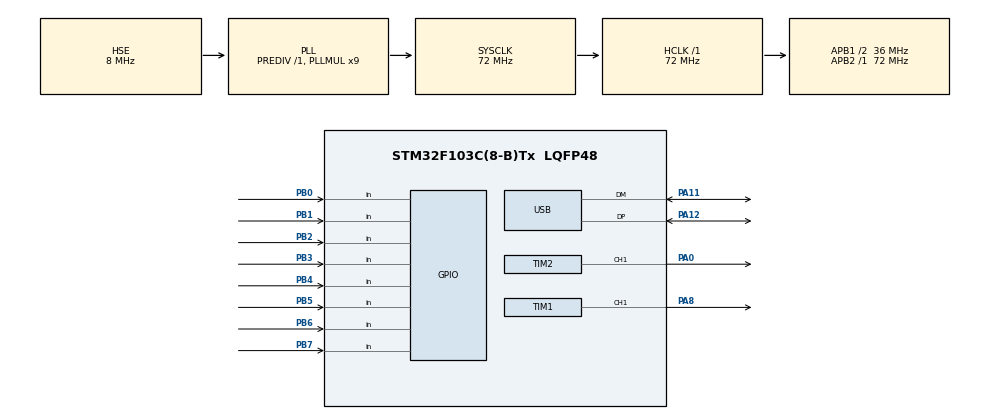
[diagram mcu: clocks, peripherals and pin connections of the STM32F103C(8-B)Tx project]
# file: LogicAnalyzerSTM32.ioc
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Dma.Request0=TIM1_UP
Dma.TIM1_UP.0.Direction=DMA_PERIPH_TO_MEMORY
Dma.TIM1_UP.0.Instance=DMA1_Channel5
Dma.TIM1_UP.0.MemDataAlignment=DMA_MDATAALIGN_BYTE
Dma.TIM1_UP.0.MemInc=DMA_MINC_ENABLE
Dma.TIM1_UP.0.Mode=DMA_CIRCULAR
Dma.TIM1_UP.0.PeriphDataAlignment=DMA_PDATAALIGN_BYTE
Dma.TIM1_UP.0.PeriphInc=DMA_PINC_DISABLE
Dma.TIM1_UP.0.Priority=DMA_PRIORITY_VERY_HIGH
Mcu.Family=STM32F1
Mcu.Name=STM32F103C(8-B)Tx
Mcu.Package=LQFP48
NVIC.DMA1_Channel5_IRQn=true\:0\:0\:false\:false\:true\:false\:true\:true
NVIC.PriorityGroup=NVIC_PRIORITYGROUP_4
NVIC.USB_LP_CAN1_RX0_IRQn=true\:1\:0\:true\:false\:true\:false\:true\:true
PA0-WKUP.Signal=S_TIM2_CH1_ETR
PA11.Mode=Device
PA11.Signal=USB_DM
PA12.Mode=Device
PA12.Signal=USB_DP
PA13.Mode=Serial_Wire
PA13.Signal=SYS_JTMS-SWDIO
PA14.Mode=Serial_Wire
PA14.Signal=SYS_JTCK-SWCLK
PA8.Signal=S_TIM1_CH1
PB0.GPIO_Mode=GPIO_MODE_INPUT
PB0.GPIO_PuPd=GPIO_PULLDOWN
PB0.Signal=GPIO_Input
PB1.GPIO_Mode=GPIO_MODE_INPUT
PB1.GPIO_PuPd=GPIO_PULLDOWN
PB1.Signal=GPIO_Input
PB2.GPIO_Mode=GPIO_MODE_INPUT
PB2.GPIO_PuPd=GPIO_PULLDOWN
PB2.Signal=GPIO_Input
PB3.GPIO_Mode=GPIO_MODE_INPUT
PB3.GPIO_PuPd=GPIO_PULLDOWN
PB3.Signal=GPIO_Input
PB4.GPIO_Mode=GPIO_MODE_INPUT
PB4.GPIO_PuPd=GPIO_PULLDOWN
PB4.Signal=GPIO_Input
PB5.GPIO_Mode=GPIO_MODE_INPUT
PB5.GPIO_PuPd=GPIO_PULLDOWN
PB5.Signal=GPIO_Input
PB6.GPIO_Mode=GPIO_MODE_INPUT
PB6.GPIO_PuPd=GPIO_PULLDOWN
PB6.Signal=GPIO_Input
PB7.GPIO_Mode=GPIO_MODE_INPUT
PB7.GPIO_PuPd=GPIO_PULLDOWN
PB7.Signal=GPIO_Input
PD0-OSC_IN.Mode=HSE-External-Oscillator
PD0-OSC_IN.Signal=RCC_OSC_IN
PD1-OSC_OUT.Mode=HSE-External-Oscillator
PD1-OSC_OUT.Signal=RCC_OSC_OUT
ProjectManager.HeapSize=0x200
ProjectManager.StackSize=0x400
ProjectManager.TargetToolchain=MDK-ARM V5.32
RCC.AHBFreq_Value=72000000
RCC.APB1CLKDivider=RCC_HCLK_DIV2
RCC.APB1Freq_Value=36000000
RCC.APB1TimFreq_Value=72000000
RCC.APB2Freq_Value=72000000
RCC.APB2TimFreq_Value=72000000
RCC.HCLKFreq_Value=72000000
RCC.PLLMUL=RCC_PLL_MUL9
RCC.PLLSourceVirtual=RCC_PLLSOURCE_HSE
RCC.SYSCLKFreq_VALUE=72000000
RCC.SYSCLKSource=RCC_SYSCLKSOURCE_PLLCLK
RCC.USBFreq_Value=48000000
RCC.USBPrescaler=RCC_USBCLKSOURCE_PLL_DIV1_5
SH.S_TIM1_CH1.0=TIM1_CH1,PWM Generation1 CH1
SH.S_TIM2_CH1_ETR.0=TIM2_CH1,PWM Generation1 CH1
TIM1.Channel-PWM\ Generation1\ CH1=TIM_CHANNEL_1
TIM1.Period=9
TIM1.Prescaler=719
TIM2.Channel-PWM\ Generation1\ CH1=TIM_CHANNEL_1
TIM2.Period=999
TIM2.Prescaler=719
TIM2.Pulse-PWM\ Generation1\ CH1=500
USB_DEVICE.CLASS_NAME_FS=CDC
USB_DEVICE.VirtualMode=Cdc
USB_DEVICE.VirtualModeFS=Cdc_FS
VP_TIM1_VS_ClockSourceINT.Mode=Internal
VP_TIM2_VS_ClockSourceINT.Mode=Internal
VP_USB_DEVICE_VS_USB_DEVICE_CDC_FS.Mode=CDC_FS
board=custom

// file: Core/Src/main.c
/* USER CODE BEGIN Header */
/**
  ******************************************************************************
  * @file           : main.c
  * @brief          : Main program body
  ******************************************************************************
  * @attention
  *
  * Copyright (c) 2026 STMicroelectronics.
  * All rights reserved.
  *
  * This software is licensed under terms that can be found in the LICENSE file
  * in the root directory of this software component.
  * If no LICENSE file comes with this software, it is provided AS-IS.
  *
  ******************************************************************************
  */
/* USER CODE END Header */
#include "main.h"
#include "usb_device.h"

/* USER CODE BEGIN Includes */
#include "usbd_cdc_if.h"
#include <string.h>
#include <stdio.h>
/* USER CODE END Includes */

/* USER CODE BEGIN PTD */
typedef enum {
	MODE_STREAMING,
	MODE_SNAPSHOT
} CaptureMode_t;

typedef struct {
	uint32_t freq;
	uint16_t psc;
	uint16_t arr;
} FreqConfig_t;
/* USER CODE END PTD */

/* USER CODE BEGIN PD */
#define BUFFER_SIZE       10240
#define HALF_BUFFER_SIZE  (BUFFER_SIZE / 2)
#define NUM_FREQS (sizeof(Freq_LUT) / sizeof(Freq_LUT[0]))
#define NUM_ALLOWED_SAMPLES (sizeof(ALLOWED_SAMPLES) / sizeof(ALLOWED_SAMPLES[0]))
/* USER CODE END PD */

TIM_HandleTypeDef htim1;
TIM_HandleTypeDef htim2;
DMA_HandleTypeDef hdma_tim1_up;

/* USER CODE BEGIN PV */
uint8_t capture_buffer[BUFFER_SIZE];

volatile uint8_t flag_half_ready = 0;
volatile uint8_t flag_full_ready = 0;
volatile uint8_t flag_snapshot_done = 0;

volatile uint8_t flag_capturing = 0;
uint8_t flag_configured = 0;

CaptureMode_t current_mode = MODE_STREAMING;

uint32_t target_samples = 0;
uint32_t samples_captured = 0;

const FreqConfig_t Freq_LUT[] = {
	{          1,   1199,   59999 },
  {          2,    599,   59999 },
  {          5,    239,   59999 },
  {         10,    119,   59999 },
  {         20,     59,   59999 },
  {         50,     23,   59999 },
  {        100,     11,   59999 },
  {        200,      5,   59999 },
  {        500,      2,   47999 },
  {       1000,      1,   35999 },
  {       2000,      0,   35999 },
  {       5000,      0,   14399 },
  {      10000,      0,    7199 },
  {      20000,      0,    3599 },
  {      50000,      0,    1439 },
  {     100000,      0,     719 },
  {     200000,      0,     359 },
  {     500000,      0,     143 },
  {    1000000,      0,      71 },
  {    2000000,      0,      35 }
};
const uint32_t ALLOWED_SAMPLES[] = {100, 200, 500, 1000, 2000, 5000, 10000, 20000, 50000, 100000};

char *hmsg = "\r\n=== Half Data ===\r\n";
char *fmsg = "\r\n=== Full Data ===\r\n";
char *startmsg = "\r\n=== Start Capture ===\r\n";
char *stopmsg = "\r\n=== Stop Capture ===\r\n";

/* USER CODE END PV */

void SystemClock_Config(void);
static void MX_GPIO_Init(void);
static void MX_DMA_Init(void);
static void MX_TIM1_Init(void);
static void MX_TIM2_Init(void);
/* USER CODE BEGIN PFP */
uint8_t USB_Transmit_Safe(uint8_t *pData, uint16_t length);

void My_DMA_HalfConvCallback(DMA_HandleTypeDef *hdma);
void My_DMA_FullConvCallback(DMA_HandleTypeDef *hdma);

void LogicAnalyzer_StartCapture(void);
void LogicAnalyzer_StopCapture(void);

uint8_t Validate_And_Set_Config(uint32_t freq, uint32_t samples);
/* USER CODE END PFP */

/* USER CODE BEGIN 0 */

uint8_t USB_Transmit_Safe(uint8_t *pData, uint16_t length) {
	uint32_t timeout = 50000;
	while (CDC_Transmit_FS(pData, length) == USBD_BUSY) {
		if (--timeout == 0) {
			return 0;
		}
   }
	return 1;
}

void My_DMA_HalfConvCallback(DMA_HandleTypeDef *hdma) {
	flag_half_ready = 1;
}

void My_DMA_FullConvCallback(DMA_HandleTypeDef *hdma) {
	flag_full_ready = 1;
}

void LogicAnalyzer_StartCapture(void){
	flag_half_ready = 0;
	flag_full_ready = 0;

	htim1.hdma[TIM_DMA_ID_UPDATE]->XferHalfCpltCallback = My_DMA_HalfConvCallback;
	htim1.hdma[TIM_DMA_ID_UPDATE]->XferCpltCallback = My_DMA_FullConvCallback;

	HAL_DMA_Start_IT(htim1.hdma[TIM_DMA_ID_UPDATE], (uint32_t)&(GPIOB->IDR), (uint32_t)capture_buffer, BUFFER_SIZE);

	__HAL_TIM_SET_COUNTER(&htim1, 0);
	__HAL_TIM_ENABLE_DMA(&htim1, TIM_DMA_UPDATE);
	HAL_TIM_Base_Start(&htim1);
}

void LogicAnalyzer_StopCapture(void) {
	HAL_TIM_Base_Stop(&htim1);
	__HAL_TIM_DISABLE_DMA(&htim1, TIM_DMA_UPDATE);
	HAL_DMA_Abort(htim1.hdma[TIM_DMA_ID_UPDATE]);
}

uint8_t Validate_And_Set_Config(uint32_t freq, uint32_t samples) {
	int freq_index = -1;
	uint8_t flag_sample_valid = 0;

	for (uint8_t i = 0; i < NUM_FREQS; i++) {
		if (freq == Freq_LUT[i].freq) {
			freq_index = i;
			break;
		}
	}

	for (uint8_t i = 0; i < NUM_ALLOWED_SAMPLES; i++) {
		if (samples == ALLOWED_SAMPLES[i]) {
			flag_sample_valid = 1;
			break;
		}
	}

	if (freq_index == -1 || !flag_sample_valid) {
		return 1; //loi 1: tham so khong nam trong dai quy dinh
	}

	if (freq >= 500000) {
		if (samples > BUFFER_SIZE) {
			return 2; // loi 2: che do snapshot nhung samples vuot qua buffer
		}
		current_mode = MODE_SNAPSHOT;
	}
	else {
		current_mode = MODE_STREAMING;
	}

	target_samples = samples;

	htim1.Instance->PSC = Freq_LUT[freq_index].psc;
	htim1.Instance->ARR = Freq_LUT[freq_index].arr;
	htim1.Instance->EGR = TIM_EGR_UG;
	htim1.Instance->SR = ~TIM_SR_UIF;

	flag_configured = 1;
	return 0;
}
/* USER CODE END 0 */

int main(void)
{

  /* MCU Configuration--------------------------------------------------------*/

  /* Reset of all peripherals, Initializes the Flash interface and the Systick. */
  HAL_Init();

  /* Configure the system clock */
  SystemClock_Config();

  /* Initialize all configured peripherals */
  MX_GPIO_Init();
  MX_DMA_Init();
  MX_TIM1_Init();
  MX_USB_DEVICE_Init();
  MX_TIM2_Init();
  /* USER CODE BEGIN 2 */
	HAL_TIM_PWM_Start(&htim2, TIM_CHANNEL_1);
	HAL_Delay(2000);
	char *boot_msg = "=== STM32 Logic Analyzer Ready ===\r\n";
	USB_Transmit_Safe((uint8_t*)boot_msg, strlen(boot_msg));
	Validate_And_Set_Config(10000, 5000);
  /* USER CODE END 2 */

  /* Infinite loop */
  /* USER CODE BEGIN WHILE */
  while (1)
  {
    if (flag_half_ready == 1) {
      flag_half_ready = 0;
      USB_Transmit_Safe((uint8_t*)hmsg, strlen(hmsg));
			USB_Transmit_Safe((uint8_t*)&capture_buffer[0], HALF_BUFFER_SIZE);
    }
		if (flag_full_ready == 1) {
			flag_full_ready = 0;
      USB_Transmit_Safe((uint8_t*)fmsg, strlen(fmsg));
			USB_Transmit_Safe((uint8_t*)&capture_buffer[HALF_BUFFER_SIZE], HALF_BUFFER_SIZE);
		}
    /* USER CODE END WHILE */

  }
}

void SystemClock_Config(void)
{
  RCC_OscInitTypeDef RCC_OscInitStruct = {0};
  RCC_ClkInitTypeDef RCC_ClkInitStruct = {0};
  RCC_PeriphCLKInitTypeDef PeriphClkInit = {0};

  /** Initializes the RCC Oscillators according to the specified parameters
  * in the RCC_OscInitTypeDef structure.
  */
  RCC_OscInitStruct.OscillatorType = RCC_OSCILLATORTYPE_HSE;
  RCC_OscInitStruct.HSEState = RCC_HSE_ON;
  RCC_OscInitStruct.HSEPredivValue = RCC_HSE_PREDIV_DIV1;
  RCC_OscInitStruct.HSIState = RCC_HSI_ON;
  RCC_OscInitStruct.PLL.PLLState = RCC_PLL_ON;
  RCC_OscInitStruct.PLL.PLLSource = RCC_PLLSOURCE_HSE;
  RCC_OscInitStruct.PLL.PLLMUL = RCC_PLL_MUL9;
  if (HAL_RCC_OscConfig(&RCC_OscInitStruct) != HAL_OK)
  {
    Error_Handler();
  }

  /** Initializes the CPU, AHB and APB buses clocks
  */
  RCC_ClkInitStruct.ClockType = RCC_CLOCKTYPE_HCLK|RCC_CLOCKTYPE_SYSCLK
                              |RCC_CLOCKTYPE_PCLK1|RCC_CLOCKTYPE_PCLK2;
  RCC_ClkInitStruct.SYSCLKSource = RCC_SYSCLKSOURCE_PLLCLK;
  RCC_ClkInitStruct.AHBCLKDivider = RCC_SYSCLK_DIV1;
  RCC_ClkInitStruct.APB1CLKDivider = RCC_HCLK_DIV2;
  RCC_ClkInitStruct.APB2CLKDivider = RCC_HCLK_DIV1;

  if (HAL_RCC_ClockConfig(&RCC_ClkInitStruct, FLASH_LATENCY_2) != HAL_OK)
  {
    Error_Handler();
  }
  PeriphClkInit.PeriphClockSelection = RCC_PERIPHCLK_USB;
  PeriphClkInit.UsbClockSelection = RCC_USBCLKSOURCE_PLL_DIV1_5;
  if (HAL_RCCEx_PeriphCLKConfig(&PeriphClkInit) != HAL_OK)
  {
    Error_Handler();
  }
}

static void MX_TIM1_Init(void)
{

  TIM_ClockConfigTypeDef sClockSourceConfig = {0};
  TIM_MasterConfigTypeDef sMasterConfig = {0};
  TIM_OC_InitTypeDef sConfigOC = {0};
  TIM_BreakDeadTimeConfigTypeDef sBreakDeadTimeConfig = {0};

  htim1.Instance = TIM1;
  htim1.Init.Prescaler = 719;
  htim1.Init.CounterMode = TIM_COUNTERMODE_UP;
  htim1.Init.Period = 9;
  htim1.Init.ClockDivision = TIM_CLOCKDIVISION_DIV1;
  htim1.Init.RepetitionCounter = 0;
  htim1.Init.AutoReloadPreload = TIM_AUTORELOAD_PRELOAD_DISABLE;
  if (HAL_TIM_Base_Init(&htim1) != HAL_OK)
  {
    Error_Handler();
  }
  sClockSourceConfig.ClockSource = TIM_CLOCKSOURCE_INTERNAL;
  if (HAL_TIM_ConfigClockSource(&htim1, &sClockSourceConfig) != HAL_OK)
  {
    Error_Handler();
  }
  if (HAL_TIM_PWM_Init(&htim1) != HAL_OK)
  {
    Error_Handler();
  }
  sMasterConfig.MasterOutputTrigger = TIM_TRGO_RESET;
  sMasterConfig.MasterSlaveMode = TIM_MASTERSLAVEMODE_DISABLE;
  if (HAL_TIMEx_MasterConfigSynchronization(&htim1, &sMasterConfig) != HAL_OK)
  {
    Error_Handler();
  }
  sConfigOC.OCMode = TIM_OCMODE_PWM1;
  sConfigOC.Pulse = 0;
  sConfigOC.OCPolarity = TIM_OCPOLARITY_HIGH;
  sConfigOC.OCNPolarity = TIM_OCNPOLARITY_HIGH;
  sConfigOC.OCFastMode = TIM_OCFAST_DISABLE;
  sConfigOC.OCIdleState = TIM_OCIDLESTATE_RESET;
  sConfigOC.OCNIdleState = TIM_OCNIDLESTATE_RESET;
  if (HAL_TIM_PWM_ConfigChannel(&htim1, &sConfigOC, TIM_CHANNEL_1) != HAL_OK)
  {
    Error_Handler();
  }
  sBreakDeadTimeConfig.OffStateRunMode = TIM_OSSR_DISABLE;
  sBreakDeadTimeConfig.OffStateIDLEMode = TIM_OSSI_DISABLE;
  sBreakDeadTimeConfig.LockLevel = TIM_LOCKLEVEL_OFF;
  sBreakDeadTimeConfig.DeadTime = 0;
  sBreakDeadTimeConfig.BreakState = TIM_BREAK_DISABLE;
  sBreakDeadTimeConfig.BreakPolarity = TIM_BREAKPOLARITY_HIGH;
  sBreakDeadTimeConfig.AutomaticOutput = TIM_AUTOMATICOUTPUT_DISABLE;
  if (HAL_TIMEx_ConfigBreakDeadTime(&htim1, &sBreakDeadTimeConfig) != HAL_OK)
  {
    Error_Handler();
  }
  HAL_TIM_MspPostInit(&htim1);

}

static void MX_TIM2_Init(void)
{

  TIM_ClockConfigTypeDef sClockSourceConfig = {0};
  TIM_MasterConfigTypeDef sMasterConfig = {0};
  TIM_OC_InitTypeDef sConfigOC = {0};

  htim2.Instance = TIM2;
  htim2.Init.Prescaler = 719;
  htim2.Init.CounterMode = TIM_COUNTERMODE_UP;
  htim2.Init.Period = 999;
  htim2.Init.ClockDivision = TIM_CLOCKDIVISION_DIV1;
  htim2.Init.AutoReloadPreload = TIM_AUTORELOAD_PRELOAD_DISABLE;
  if (HAL_TIM_Base_Init(&htim2) != HAL_OK)
  {
    Error_Handler();
  }
  sClockSourceConfig.ClockSource = TIM_CLOCKSOURCE_INTERNAL;
  if (HAL_TIM_ConfigClockSource(&htim2, &sClockSourceConfig) != HAL_OK)
  {
    Error_Handler();
  }
  if (HAL_TIM_PWM_Init(&htim2) != HAL_OK)
  {
    Error_Handler();
  }
  sMasterConfig.MasterOutputTrigger = TIM_TRGO_RESET;
  sMasterConfig.MasterSlaveMode = TIM_MASTERSLAVEMODE_DISABLE;
  if (HAL_TIMEx_MasterConfigSynchronization(&htim2, &sMasterConfig) != HAL_OK)
  {
    Error_Handler();
  }
  sConfigOC.OCMode = TIM_OCMODE_PWM1;
  sConfigOC.Pulse = 500;
  sConfigOC.OCPolarity = TIM_OCPOLARITY_HIGH;
  sConfigOC.OCFastMode = TIM_OCFAST_DISABLE;
  if (HAL_TIM_PWM_ConfigChannel(&htim2, &sConfigOC, TIM_CHANNEL_1) != HAL_OK)
  {
    Error_Handler();
  }
  HAL_TIM_MspPostInit(&htim2);

}

static void MX_DMA_Init(void)
{

  /* DMA controller clock enable */
  __HAL_RCC_DMA1_CLK_ENABLE();

  /* DMA interrupt init */
  /* DMA1_Channel5_IRQn interrupt configuration */
  HAL_NVIC_SetPriority(DMA1_Channel5_IRQn, 0, 0);
  HAL_NVIC_EnableIRQ(DMA1_Channel5_IRQn);

}

static void MX_GPIO_Init(void)
{
  GPIO_InitTypeDef GPIO_InitStruct = {0};

  /* GPIO Ports Clock Enable */
  __HAL_RCC_GPIOD_CLK_ENABLE();
  __HAL_RCC_GPIOA_CLK_ENABLE();
  __HAL_RCC_GPIOB_CLK_ENABLE();

  /*Configure GPIO pins : PB0 PB1 PB2 PB3
                           PB4 PB5 PB6 PB7 */
  GPIO_InitStruct.Pin = GPIO_PIN_0|GPIO_PIN_1|GPIO_PIN_2|GPIO_PIN_3
                          |GPIO_PIN_4|GPIO_PIN_5|GPIO_PIN_6|GPIO_PIN_7;
  GPIO_InitStruct.Mode = GPIO_MODE_INPUT;
  GPIO_InitStruct.Pull = GPIO_PULLDOWN;
  HAL_GPIO_Init(GPIOB, &GPIO_InitStruct);

}

void Error_Handler(void)
{
  __disable_irq();
  while (1)
  {
  }
}
